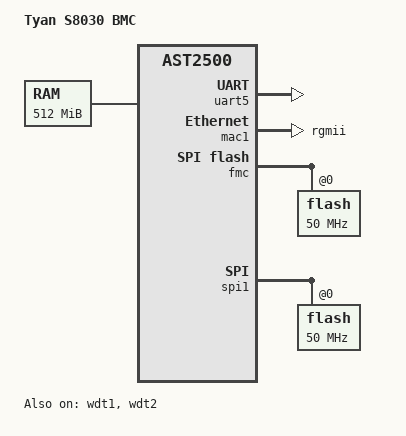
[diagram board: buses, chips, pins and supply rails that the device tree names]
// SPDX-License-Identifier: GPL-2.0+
/dts-v1/;

#include "ast2500-u-boot.dtsi"

/ {
	model = "Tyan S8030 BMC";
	compatible = "tyan,s8030-bmc", "aspeed,ast2500";

	chosen {
		stdout-path = &uart5;
	};

	memory {
		device_type = "memory";
		reg = <0x80000000 0x20000000>;
	};

	aliases {
		spi0 = &fmc;
		spi1 = &spi1;
		ethernet1 = &mac1;
	};
};

&uart5 {
	u-boot,dm-pre-reloc;
	status = "okay";
};

&sdrammc {
	clock-frequency = <400000000>;
};

&wdt1 {
	u-boot,dm-pre-reloc;
	status = "okay";
};

&wdt2 {
	u-boot,dm-pre-reloc;
	status = "okay";
};

&mac1 {
	status = "okay";
	phy-mode = "rgmii";
	pinctrl-names = "default";
	pinctrl-0 = <&pinctrl_mac2link_default &pinctrl_mdio2_default>;
};

&fmc {
	status = "okay";
	flash@0 {
		status = "okay";
		spi-max-frequency = <50000000>;
		spi-tx-bus-width = <2>;
		spi-rx-bus-width = <2>;
	};
};

&spi1 {
	status = "okay";
	flash@0 {
		pinctrl-names = "default";
		pinctrl-0 = <&pinctrl_spi1_default>;
		status = "okay";
		spi-max-frequency = <50000000>;
		spi-tx-bus-width = <2>;
		spi-rx-bus-width = <2>;
	};
};
